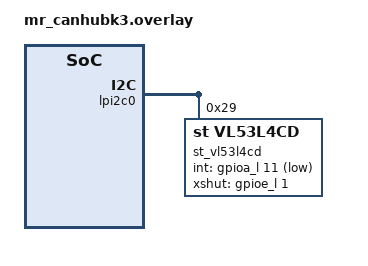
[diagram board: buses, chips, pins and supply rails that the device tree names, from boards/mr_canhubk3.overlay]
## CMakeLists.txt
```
# Copyright 2024 NXP
# SPDX-License-Identifier: Apache-2.0

cmake_minimum_required(VERSION 3.20.0)
find_package(Zephyr REQUIRED HINTS $ENV{ZEPHYR_BASE})
project(vl53l4cd)

FILE(GLOB app_sources src/*.c)
target_sources(app PRIVATE ${app_sources})
```

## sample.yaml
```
# Copyright 2024 NXP
# SPDX-License-Identifier: Apache-2.0

sample:
  name: Sample for MEMS sensors VL53L4CD
tests:
  sample.sensor.vl53l4cd:
    build_only: true
    depends_on:
      - i2c
      - vl53l4cd
    tags: sensors
```

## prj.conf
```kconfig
CONFIG_STDOUT_CONSOLE=y
CONFIG_I2C=y
CONFIG_GPIO=y
CONFIG_SENSOR=y

CONFIG_VL53L4CD_INTERRUPT_MODE=n
CONFIG_VL53L4CD_PROXIMITY_THRESHOLD=150
CONFIG_VL53L4CD_XSHUT=n
CONFIG_VL53L4CD_RECONFIGURE_ADDRESS=n

# symbols for debugging the application.
# CONFIG_DEBUG=y
# CONFIG_LOG=y
# CONFIG_SENSOR_LOG_LEVEL_DBG=y
# CONFIG_CBPRINTF_FP_SUPPORT=y
```

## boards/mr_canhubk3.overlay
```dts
/*
 * Copyright 2024 NXP
 *
 * SPDX-License-Identifier: Apache-2.0
 */

&eirq0_default {
	group1 {
		pinmux = <PTD15_EIRQ31>, <PTA18_EIRQ0>, <PTA25_EIRQ5>,
			 <PTD5_EIRQ13>, <PTA11_EIRQ19>, <PTE1_EIRQ1>;
		input-enable;
	};
};

&gpioa_l {
	status = "okay";
};

&gpioe_l {
	status = "okay";
};

&lpi2c0 { /* Note: lpi2c0 represents the I2C port on MR-CANHUBK3-ADAP. */
	status = "okay";

	st_vl53l4cd@29 {
		compatible = "st,vl53l4cd";
		reg = <0x29>;
		status = "okay";

		int-gpios = <&gpioa_l 11 GPIO_ACTIVE_LOW>; /* EXT_GPIO1 */
		xshut-gpios = <&gpioe_l 1 GPIO_ACTIVE_HIGH>; /* EXT_GPIO2 */
	};
};
```

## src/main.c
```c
/*
 * Copyright 2024 NXP
 *
 * SPDX-License-Identifier: Apache-2.0
 */

#include <zephyr/kernel.h>
#include <zephyr/device.h>
#include <zephyr/drivers/sensor.h>
#include <stdio.h>
#include <zephyr/sys/printk.h>

#define VL53L4CD_SAMPLE_MEASUREMENT_DELAY_MS	1000

int main(void)
{
	const struct device *const dev = DEVICE_DT_GET_ONE(st_vl53l4cd);
	struct sensor_value value;
	int ret;

	if (!device_is_ready(dev)) {
		printk("[%s] sensor: device not ready.\n", dev->name);
		return -ENODEV;
	}

	/* If CONFIG_VL53L4CD_RECONFIGURE_ADDRESS=y, sensor is started at the first transaction. */
#ifdef CONFIG_VL53L4CD_RECONFIGURE_ADDRESS
	ret = sensor_sample_fetch(dev);
	if (ret) {
		printk("[%s] sensor_channel_get failed. Returned %d.\n", dev->name, ret);
		return ret;
	}
#endif

	while (1) {
		/* If interrupt mode is used, then we don't need to call sensor_sample_fetch. */
#ifndef CONFIG_VL53L4CD_INTERRUPT_MODE
		ret = sensor_sample_fetch(dev);
		if (ret) {
			printk("[%s] sensor_sample_fetch failed. Returned %d.\n", dev->name, ret);
			return ret;
		}
#endif

		ret = sensor_channel_get(dev, SENSOR_CHAN_PROX, &value);
		if (ret) {
			printk("[%s] sensor_channel_get failed. Returned %d.\n", dev->name, ret);
			return ret;
		}
		printk("proximity = %d\n", value.val1);

		ret = sensor_channel_get(dev, SENSOR_CHAN_DISTANCE, &value);
		if (ret) {
			printk("[%s] sensor_channel_get failed. Returned %d.\n", dev->name, ret);
			return ret;
		}
		printf("distance = %.3f m\n", sensor_value_to_double(&value));

		k_sleep(K_MSEC(VL53L4CD_SAMPLE_MEASUREMENT_DELAY_MS));
	}

	return 0;
}
```
